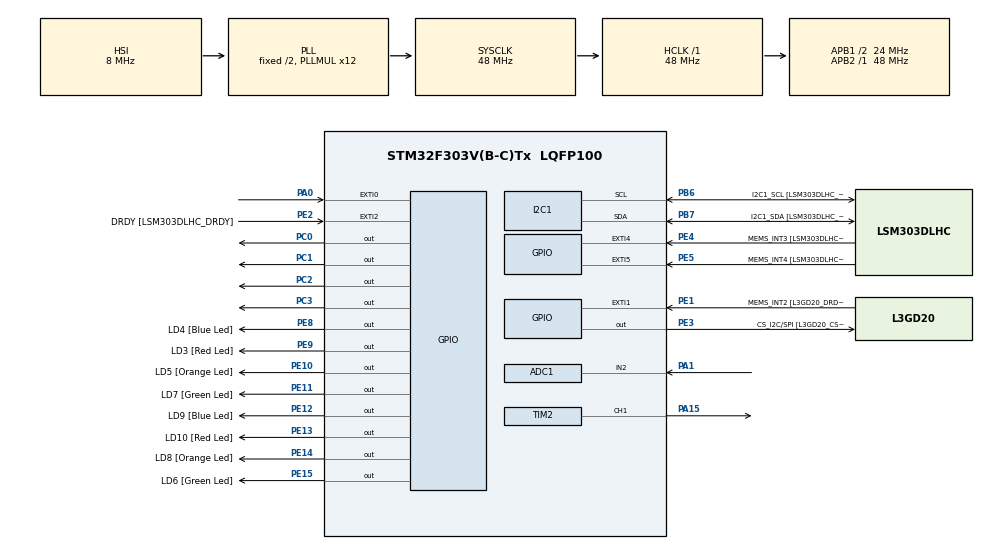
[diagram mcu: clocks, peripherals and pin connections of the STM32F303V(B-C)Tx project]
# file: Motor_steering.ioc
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ADC1.Channel-0\#ChannelRegularConversion=ADC_CHANNEL_2
ADC1.ContinuousConvMode=DISABLE
ADC1.DMAContinuousRequests=ENABLE
ADC1.EnableInjectedConversion=DISABLE
ADC1.ExternalTrigConv=ADC_EXTERNALTRIGCONV_T4_CC4
ADC1.NbrOfConversionFlag=1
ADC1.Offset-0\#ChannelRegularConversion=0
ADC1.OffsetNumber-0\#ChannelRegularConversion=ADC_OFFSET_NONE
ADC1.Rank-0\#ChannelRegularConversion=1
ADC1.SamplingTime-0\#ChannelRegularConversion=ADC_SAMPLETIME_7CYCLES_5
ADC1.SamplingTimeOPAMP-0\#ChannelRegularConversion=ADC_SAMPLETIME_19CYCLES_5
ADC1.master=1
Dma.ADC1.0.Direction=DMA_PERIPH_TO_MEMORY
Dma.ADC1.0.Instance=DMA1_Channel1
Dma.ADC1.0.MemDataAlignment=DMA_MDATAALIGN_HALFWORD
Dma.ADC1.0.MemInc=DMA_MINC_DISABLE
Dma.ADC1.0.Mode=DMA_CIRCULAR
Dma.ADC1.0.PeriphDataAlignment=DMA_PDATAALIGN_HALFWORD
Dma.ADC1.0.PeriphInc=DMA_PINC_DISABLE
Dma.ADC1.0.Priority=DMA_PRIORITY_LOW
Dma.Request0=ADC1
Mcu.Family=STM32F3
Mcu.Name=STM32F303V(B-C)Tx
Mcu.Package=LQFP100
NVIC.DMA1_Channel1_IRQn=true\:5\:0\:true\:false\:true\:false\:true\:true
NVIC.EXTI0_IRQn=true\:6\:0\:true\:false\:true\:true\:true\:true
NVIC.I2C1_EV_IRQn=true\:5\:0\:true\:false\:true\:true\:true\:true
NVIC.PriorityGroup=NVIC_PRIORITYGROUP_4
NVIC.TIM3_IRQn=true\:5\:0\:true\:false\:true\:true\:true\:true
NVIC.TIM4_IRQn=true\:0\:0\:false\:false\:true\:true\:true\:true
NVIC.TIM6_DAC_IRQn=true\:15\:0\:false\:false\:true\:false\:true\:true
NVIC.TimeBase=TIM6_DAC_IRQn
NVIC.TimeBaseIP=TIM6
PA0.GPIO_PuPd=GPIO_PULLDOWN
PA0.Signal=GPXTI0
PA1.Mode=IN2-Single-Ended
PA1.Signal=ADC1_IN2
PA11.GPIO_Label=DM
PA11.Signal=USB_DM
PA12.GPIO_Label=DP
PA12.Signal=USB_DP
PA13.GPIO_Label=SWDIO
PA13.Signal=SYS_JTMS-SWDIO
PA14.GPIO_Label=SWCLK
PA14.Signal=SYS_JTCK-SWCLK
PA15.Signal=S_TIM2_CH1_ETR
PA5.GPIO_Label=SPI1_SCK [L3GD20_SCL/SPC]
PA5.GPIO_Mode=GPIO_MODE_AF_PP
PA5.GPIO_PuPd=GPIO_NOPULL
PA5.GPIO_Speed=GPIO_SPEED_FREQ_LOW
PA5.Signal=SPI1_SCK
PA6.GPIO_Label=SPI1_MISO [L3GD20_SA0/SDO]
PA6.GPIO_Mode=GPIO_MODE_AF_PP
PA6.GPIO_PuPd=GPIO_NOPULL
PA6.GPIO_Speed=GPIO_SPEED_FREQ_LOW
PA6.Signal=SPI1_MISO
PA7.GPIO_Label=SPI1_MISO [L3GD20_SDA/SDI/SDO]
PA7.GPIO_Mode=GPIO_MODE_AF_PP
PA7.GPIO_PuPd=GPIO_NOPULL
PA7.GPIO_Speed=GPIO_SPEED_FREQ_LOW
PA7.Signal=SPI1_MOSI
PB3.GPIO_Label=SWO
PB3.Signal=SYS_JTDO-TRACESWO
PB6.GPIO_FM6=__NULL
PB6.GPIO_Label=I2C1_SCL [LSM303DLHC_SCL]
PB6.GPIO_Mode=GPIO_MODE_AF_OD
PB6.GPIO_PuPd=GPIO_NOPULL
PB6.GPIO_Speed=GPIO_SPEED_FREQ_LOW
PB6.Mode=I2C
PB6.Signal=I2C1_SCL
PB7.GPIO_FM7=__NULL
PB7.GPIO_Label=I2C1_SDA [LSM303DLHC_SDA]
PB7.GPIO_Mode=GPIO_MODE_AF_OD
PB7.GPIO_PuPd=GPIO_NOPULL
PB7.GPIO_Speed=GPIO_SPEED_FREQ_LOW
PB7.Mode=I2C
PB7.Signal=I2C1_SDA
PC0.Signal=GPIO_Output
PC1.Signal=GPIO_Output
PC14-OSC32_IN.GPIO_Label=OSC32_IN
PC14-OSC32_IN.Signal=RCC_OSC32_IN
PC15-OSC32_OUT.GPIO_Label=OSC32_OUT
PC15-OSC32_OUT.Signal=RCC_OSC32_OUT
PC2.Signal=GPIO_Output
PC3.Signal=GPIO_Output
PE1.GPIO_Label=MEMS_INT2 [L3GD20_DRDY/INT2]
PE1.GPIO_ModeDefaultEXTI=GPIO_MODE_EVT_RISING
PE1.GPIO_PuPd=GPIO_NOPULL
PE1.Signal=GPXTI1
PE10.GPIO_Label=LD5 [Orange Led]
PE10.GPIO_ModeDefaultOutputPP=GPIO_MODE_OUTPUT_PP
PE10.GPIO_PuPd=GPIO_NOPULL
PE10.GPIO_Speed=GPIO_SPEED_FREQ_LOW
PE10.Signal=GPIO_Output
PE11.GPIO_Label=LD7 [Green Led]
PE11.GPIO_ModeDefaultOutputPP=GPIO_MODE_OUTPUT_PP
PE11.GPIO_PuPd=GPIO_NOPULL
PE11.GPIO_Speed=GPIO_SPEED_FREQ_LOW
PE11.Signal=GPIO_Output
PE12.GPIO_Label=LD9 [Blue Led]
PE12.GPIO_ModeDefaultOutputPP=GPIO_MODE_OUTPUT_PP
PE12.GPIO_PuPd=GPIO_NOPULL
PE12.GPIO_Speed=GPIO_SPEED_FREQ_LOW
PE12.Signal=GPIO_Output
PE13.GPIO_Label=LD10 [Red Led]
PE13.GPIO_ModeDefaultOutputPP=GPIO_MODE_OUTPUT_PP
PE13.GPIO_PuPd=GPIO_NOPULL
PE13.GPIO_Speed=GPIO_SPEED_FREQ_LOW
PE13.Signal=GPIO_Output
PE14.GPIO_Label=LD8 [Orange Led]
PE14.GPIO_ModeDefaultOutputPP=GPIO_MODE_OUTPUT_PP
PE14.GPIO_PuPd=GPIO_NOPULL
PE14.GPIO_Speed=GPIO_SPEED_FREQ_LOW
PE14.Signal=GPIO_Output
PE15.GPIO_Label=LD6 [Green Led]
PE15.GPIO_ModeDefaultOutputPP=GPIO_MODE_OUTPUT_PP
PE15.GPIO_PuPd=GPIO_NOPULL
PE15.GPIO_Speed=GPIO_SPEED_FREQ_LOW
PE15.Signal=GPIO_Output
PE2.GPIO_Label=DRDY [LSM303DLHC_DRDY]
PE2.GPIO_ModeDefaultEXTI=GPIO_MODE_EVT_RISING
PE2.GPIO_PuPd=GPIO_NOPULL
PE2.Signal=GPXTI2
PE3.GPIO_Label=CS_I2C/SPI [L3GD20_CS_I2C/SPI]
PE3.GPIO_ModeDefaultOutputPP=GPIO_MODE_OUTPUT_PP
PE3.GPIO_PuPd=GPIO_NOPULL
PE3.GPIO_Speed=GPIO_SPEED_FREQ_LOW
PE3.Signal=GPIO_Output
PE4.GPIO_Label=MEMS_INT3 [LSM303DLHC_INT1]
PE4.GPIO_ModeDefaultEXTI=GPIO_MODE_EVT_RISING
PE4.GPIO_PuPd=GPIO_NOPULL
PE4.Signal=GPXTI4
PE5.GPIO_Label=MEMS_INT4 [LSM303DLHC_INT2]
PE5.GPIO_ModeDefaultEXTI=GPIO_MODE_EVT_RISING
PE5.GPIO_PuPd=GPIO_NOPULL
PE5.Signal=GPXTI5
PE8.GPIO_Label=LD4 [Blue Led]
PE8.GPIO_ModeDefaultOutputPP=GPIO_MODE_OUTPUT_PP
PE8.GPIO_PuPd=GPIO_NOPULL
PE8.GPIO_Speed=GPIO_SPEED_FREQ_LOW
PE8.Signal=GPIO_Output
PE9.GPIO_Label=LD3 [Red Led]
PE9.GPIO_ModeDefaultOutputPP=GPIO_MODE_OUTPUT_PP
PE9.GPIO_PuPd=GPIO_NOPULL
PE9.GPIO_Speed=GPIO_SPEED_FREQ_LOW
PE9.Signal=GPIO_Output
PF0-OSC_IN.GPIO_Label=OSC_IN
PF0-OSC_IN.Signal=RCC_OSC_IN
PF1-OSC_OUT.GPIO_Label=OSC_OUT
PF1-OSC_OUT.Signal=RCC_OSC_OUT
ProjectManager.HeapSize=0x200
ProjectManager.StackSize=0x400
ProjectManager.TargetToolchain=STM32CubeIDE
RCC.AHBFreq_Value=48000000
RCC.APB1CLKDivider=RCC_HCLK_DIV2
RCC.APB1Freq_Value=24000000
RCC.APB1TimFreq_Value=48000000
RCC.APB2Freq_Value=48000000
RCC.APB2TimFreq_Value=48000000
RCC.CortexFreq_Value=48000000
RCC.HCLKFreq_Value=48000000
RCC.HSE_VALUE=8000000
RCC.HSI_VALUE=8000000
RCC.LSE_VALUE=32768
RCC.PLLMUL=RCC_PLL_MUL12
RCC.SYSCLKFreq_VALUE=48000000
RCC.SYSCLKSourceVirtual=RCC_SYSCLKSOURCE_PLLCLK
RCC.USBFreq_Value=48000000
SH.S_TIM2_CH1_ETR.0=TIM2_CH1,PWM Generation1 CH1
TIM2.AutoReloadPreload=TIM_AUTORELOAD_PRELOAD_ENABLE
TIM2.Channel-PWM\ Generation1\ CH1=TIM_CHANNEL_1
TIM2.Period=20119
TIM2.Prescaler=47
TIM3.AutoReloadPreload=TIM_AUTORELOAD_PRELOAD_ENABLE
TIM3.Period=10000
TIM3.Prescaler=48
TIM4.AutoReloadPreload=TIM_AUTORELOAD_PRELOAD_ENABLE
TIM4.Channel-Output\ Compare4\ No\ Output=TIM_CHANNEL_4
TIM4.OC4Preload=ENABLE
TIM4.OCMode_4=TIM_OCMODE_TOGGLE
TIM4.OCPolarity_4=TIM_OCPOLARITY_LOW
TIM4.Period=100
TIM4.Prescaler=4800
TIM4.Pulse-Output\ Compare4\ No\ Output=50
VP_SYS_VS_tim6.Mode=TIM6
VP_TIM2_VS_ClockSourceINT.Mode=Internal
VP_TIM3_VS_ClockSourceINT.Mode=Internal
VP_TIM4_VS_ClockSourceINT.Mode=Internal
VP_TIM4_VS_no_output4.Mode=Output Compare4 No Output
board=STM32F3DISCOVERY

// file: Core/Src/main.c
/* USER CODE BEGIN Header */
/**
  ******************************************************************************
  * @file           : main.c
  * @brief          : Main program body
  ******************************************************************************
  * @attention
  *
  * Copyright (c) 2024 STMicroelectronics.
  * All rights reserved.
  *
  * This software is licensed under terms that can be found in the LICENSE file
  * in the root directory of this software component.
  * If no LICENSE file comes with this software, it is provided AS-IS.
  *
  ******************************************************************************
  */

 /*
  * PINS USED IN THIS PROJECT :
  *
  * STEPPER MOTOR:
  * PC0		- ULN2003_INPUT_0
  * PC1		- ULN2003_INPUT_1
  * PC2		- ULN2003_INPUT_2
  * PC3		- ULN2003_INPUT_3
  *
  * SERVO:
  * PA15	- TIM2_CHANNEL_1 (SERVO PWM SIGNAL)
  *
  *	POTENTIOMETER:
  *	PA1 	- ADC1_CHANNEL_2
  *
  */

/* USER CODE END Header */
#include "main.h"

/* USER CODE BEGIN Includes */
#include"FreeRTOS.h"
#include "task.h"
#include "timers.h"
#include "MY_motor.h"

/* USER CODE END Includes */

/* USER CODE BEGIN PD */

//TASKS
TaskHandle_t motor_stepper;
TaskHandle_t motor_servo;
TaskHandle_t measurements;
TaskHandle_t i2c_gather;

//TIMERS
TimerHandle_t Timer_1;

/* USER CODE END PD */

ADC_HandleTypeDef hadc1;
DMA_HandleTypeDef hdma_adc1;

I2C_HandleTypeDef hi2c1;

TIM_HandleTypeDef htim2;
TIM_HandleTypeDef htim3;
TIM_HandleTypeDef htim4;

/* USER CODE BEGIN PV */
uint8_t magnetic_module_addr = (0x1E << 1);

//RAW DATA RETREIVED FROM THE SENSOR
uint8_t 	RAW_DATA [6];
uint16_t 	RAW_TEMP;

//PROCESSED DATA
position_t 	POSITION;
float 		TEMPERATURE;

uint8_t 	MOTOR_DIR;
/* USER CODE END PV */

void SystemClock_Config(void);
static void MX_GPIO_Init(void);
static void MX_DMA_Init(void);
static void MX_TIM2_Init(void);
static void MX_TIM3_Init(void);
static void MX_ADC1_Init(void);
static void MX_TIM4_Init(void);
static void MX_I2C1_Init(void);
/* USER CODE BEGIN PFP */

//TASK FUNCTIONS
void vMotorControl (void* pvParameters);
void vServoControl (void* pvParameters);
void vMeasurements (void* pvParameters);
void vI2CGather (void* pvParameters);

//TIMER FUNCTIONS
void vTimer_1( TimerHandle_t xTimer );

//USER FUNCTIONS
void vButton_IRQ(void);

/* USER CODE END PFP */

int main(void)
{
  /* USER CODE BEGIN 1 */
	BaseType_t Status;

  /* USER CODE END 1 */

  /* MCU Configuration--------------------------------------------------------*/

  /* Reset of all peripherals, Initializes the Flash interface and the Systick. */
  HAL_Init();

  /* Configure the system clock */
  SystemClock_Config();

  /* Initialize all configured peripherals */
  MX_GPIO_Init();
  MX_DMA_Init();
  MX_TIM2_Init();
  MX_TIM3_Init();
  MX_ADC1_Init();
  MX_TIM4_Init();
  MX_I2C1_Init();
  /* USER CODE BEGIN 2 */

  Status = xTaskCreate(vMeasurements, "Measurements", 100, "MES RUNNING", 1, &measurements);
  configASSERT(Status == pdPASS);

  Status = xTaskCreate(vMotorControl, "STEPPER_MOTOR", 100, "ST_MT RUNNING", 1, &motor_stepper);
  configASSERT(Status == pdPASS);

  Status = xTaskCreate(vServoControl, "SERVO_MOTOR", 100, "SERVO RUNNING", 1, &motor_servo);
  configASSERT(Status == pdPASS);

  Status = xTaskCreate(vI2CGather, "I2C Gather", 100, "I2C COMM", 1, &i2c_gather);
  configASSERT(Status == pdPASS);

  Timer_1 = xTimerCreate("Stepper TIM", portMAX_DELAY, pdTRUE, (void*) 0, vTimer_1);
  configASSERT(Timer_1);
  if(xTimerStart( Timer_1 , 0 ) != pdPASS )
  {
	  configASSERT(0);
  }

  vTaskStartScheduler();
  /* USER CODE END 2 */

  /* Infinite loop */
  while (1)
  {

  }
}

void SystemClock_Config(void)
{
  RCC_OscInitTypeDef RCC_OscInitStruct = {0};
  RCC_ClkInitTypeDef RCC_ClkInitStruct = {0};
  RCC_PeriphCLKInitTypeDef PeriphClkInit = {0};

  /** Initializes the RCC Oscillators according to the specified parameters
  * in the RCC_OscInitTypeDef structure.
  */
  RCC_OscInitStruct.OscillatorType = RCC_OSCILLATORTYPE_HSI;
  RCC_OscInitStruct.HSIState = RCC_HSI_ON;
  RCC_OscInitStruct.HSICalibrationValue = RCC_HSICALIBRATION_DEFAULT;
  RCC_OscInitStruct.PLL.PLLState = RCC_PLL_ON;
  RCC_OscInitStruct.PLL.PLLSource = RCC_PLLSOURCE_HSI;
  RCC_OscInitStruct.PLL.PLLMUL = RCC_PLL_MUL12;
  if (HAL_RCC_OscConfig(&RCC_OscInitStruct) != HAL_OK)
  {
    Error_Handler();
  }

  /** Initializes the CPU, AHB and APB buses clocks
  */
  RCC_ClkInitStruct.ClockType = RCC_CLOCKTYPE_HCLK|RCC_CLOCKTYPE_SYSCLK
                              |RCC_CLOCKTYPE_PCLK1|RCC_CLOCKTYPE_PCLK2;
  RCC_ClkInitStruct.SYSCLKSource = RCC_SYSCLKSOURCE_PLLCLK;
  RCC_ClkInitStruct.AHBCLKDivider = RCC_SYSCLK_DIV1;
  RCC_ClkInitStruct.APB1CLKDivider = RCC_HCLK_DIV2;
  RCC_ClkInitStruct.APB2CLKDivider = RCC_HCLK_DIV1;

  if (HAL_RCC_ClockConfig(&RCC_ClkInitStruct, FLASH_LATENCY_1) != HAL_OK)
  {
    Error_Handler();
  }
  PeriphClkInit.PeriphClockSelection = RCC_PERIPHCLK_I2C1|RCC_PERIPHCLK_ADC12;
  PeriphClkInit.Adc12ClockSelection = RCC_ADC12PLLCLK_DIV1;
  PeriphClkInit.I2c1ClockSelection = RCC_I2C1CLKSOURCE_HSI;
  if (HAL_RCCEx_PeriphCLKConfig(&PeriphClkInit) != HAL_OK)
  {
    Error_Handler();
  }
}

static void MX_ADC1_Init(void)
{

  ADC_MultiModeTypeDef multimode = {0};
  ADC_ChannelConfTypeDef sConfig = {0};

  /** Common config
  */
  hadc1.Instance = ADC1;
  hadc1.Init.ClockPrescaler = ADC_CLOCK_ASYNC_DIV1;
  hadc1.Init.Resolution = ADC_RESOLUTION_12B;
  hadc1.Init.ScanConvMode = ADC_SCAN_DISABLE;
  hadc1.Init.ContinuousConvMode = DISABLE;
  hadc1.Init.DiscontinuousConvMode = DISABLE;
  hadc1.Init.ExternalTrigConvEdge = ADC_EXTERNALTRIGCONVEDGE_RISING;
  hadc1.Init.ExternalTrigConv = ADC_EXTERNALTRIGCONV_T4_CC4;
  hadc1.Init.DataAlign = ADC_DATAALIGN_RIGHT;
  hadc1.Init.NbrOfConversion = 1;
  hadc1.Init.DMAContinuousRequests = ENABLE;
  hadc1.Init.EOCSelection = ADC_EOC_SINGLE_CONV;
  hadc1.Init.LowPowerAutoWait = DISABLE;
  hadc1.Init.Overrun = ADC_OVR_DATA_OVERWRITTEN;
  if (HAL_ADC_Init(&hadc1) != HAL_OK)
  {
    Error_Handler();
  }

  /** Configure the ADC multi-mode
  */
  multimode.Mode = ADC_MODE_INDEPENDENT;
  if (HAL_ADCEx_MultiModeConfigChannel(&hadc1, &multimode) != HAL_OK)
  {
    Error_Handler();
  }

  /** Configure Regular Channel
  */
  sConfig.Channel = ADC_CHANNEL_2;
  sConfig.Rank = ADC_REGULAR_RANK_1;
  sConfig.SingleDiff = ADC_SINGLE_ENDED;
  sConfig.SamplingTime = ADC_SAMPLETIME_7CYCLES_5;
  sConfig.OffsetNumber = ADC_OFFSET_NONE;
  sConfig.Offset = 0;
  if (HAL_ADC_ConfigChannel(&hadc1, &sConfig) != HAL_OK)
  {
    Error_Handler();
  }

}

static void MX_I2C1_Init(void)
{

  hi2c1.Instance = I2C1;
  hi2c1.Init.Timing = 0x2000090E;
  hi2c1.Init.OwnAddress1 = 0;
  hi2c1.Init.AddressingMode = I2C_ADDRESSINGMODE_7BIT;
  hi2c1.Init.DualAddressMode = I2C_DUALADDRESS_DISABLE;
  hi2c1.Init.OwnAddress2 = 0;
  hi2c1.Init.OwnAddress2Masks = I2C_OA2_NOMASK;
  hi2c1.Init.GeneralCallMode = I2C_GENERALCALL_DISABLE;
  hi2c1.Init.NoStretchMode = I2C_NOSTRETCH_DISABLE;
  if (HAL_I2C_Init(&hi2c1) != HAL_OK)
  {
    Error_Handler();
  }

  /** Configure Analogue filter
  */
  if (HAL_I2CEx_ConfigAnalogFilter(&hi2c1, I2C_ANALOGFILTER_ENABLE) != HAL_OK)
  {
    Error_Handler();
  }

  /** Configure Digital filter
  */
  if (HAL_I2CEx_ConfigDigitalFilter(&hi2c1, 0) != HAL_OK)
  {
    Error_Handler();
  }

}

static void MX_TIM2_Init(void)
{

  TIM_ClockConfigTypeDef sClockSourceConfig = {0};
  TIM_MasterConfigTypeDef sMasterConfig = {0};
  TIM_OC_InitTypeDef sConfigOC = {0};

  htim2.Instance = TIM2;
  htim2.Init.Prescaler = 47;
  htim2.Init.CounterMode = TIM_COUNTERMODE_UP;
  htim2.Init.Period = 20119;
  htim2.Init.ClockDivision = TIM_CLOCKDIVISION_DIV1;
  htim2.Init.AutoReloadPreload = TIM_AUTORELOAD_PRELOAD_ENABLE;
  if (HAL_TIM_Base_Init(&htim2) != HAL_OK)
  {
    Error_Handler();
  }
  sClockSourceConfig.ClockSource = TIM_CLOCKSOURCE_INTERNAL;
  if (HAL_TIM_ConfigClockSource(&htim2, &sClockSourceConfig) != HAL_OK)
  {
    Error_Handler();
  }
  if (HAL_TIM_PWM_Init(&htim2) != HAL_OK)
  {
    Error_Handler();
  }
  sMasterConfig.MasterOutputTrigger = TIM_TRGO_RESET;
  sMasterConfig.MasterSlaveMode = TIM_MASTERSLAVEMODE_DISABLE;
  if (HAL_TIMEx_MasterConfigSynchronization(&htim2, &sMasterConfig) != HAL_OK)
  {
    Error_Handler();
  }
  sConfigOC.OCMode = TIM_OCMODE_PWM1;
  sConfigOC.Pulse = 0;
  sConfigOC.OCPolarity = TIM_OCPOLARITY_HIGH;
  sConfigOC.OCFastMode = TIM_OCFAST_DISABLE;
  if (HAL_TIM_PWM_ConfigChannel(&htim2, &sConfigOC, TIM_CHANNEL_1) != HAL_OK)
  {
    Error_Handler();
  }
  HAL_TIM_MspPostInit(&htim2);

}

static void MX_TIM3_Init(void)
{

  TIM_ClockConfigTypeDef sClockSourceConfig = {0};
  TIM_MasterConfigTypeDef sMasterConfig = {0};

  htim3.Instance = TIM3;
  htim3.Init.Prescaler = 48;
  htim3.Init.CounterMode = TIM_COUNTERMODE_UP;
  htim3.Init.Period = 10000;
  htim3.Init.ClockDivision = TIM_CLOCKDIVISION_DIV1;
  htim3.Init.AutoReloadPreload = TIM_AUTORELOAD_PRELOAD_ENABLE;
  if (HAL_TIM_Base_Init(&htim3) != HAL_OK)
  {
    Error_Handler();
  }
  sClockSourceConfig.ClockSource = TIM_CLOCKSOURCE_INTERNAL;
  if (HAL_TIM_ConfigClockSource(&htim3, &sClockSourceConfig) != HAL_OK)
  {
    Error_Handler();
  }
  sMasterConfig.MasterOutputTrigger = TIM_TRGO_RESET;
  sMasterConfig.MasterSlaveMode = TIM_MASTERSLAVEMODE_DISABLE;
  if (HAL_TIMEx_MasterConfigSynchronization(&htim3, &sMasterConfig) != HAL_OK)
  {
    Error_Handler();
  }

}

static void MX_TIM4_Init(void)
{

  TIM_ClockConfigTypeDef sClockSourceConfig = {0};
  TIM_MasterConfigTypeDef sMasterConfig = {0};
  TIM_OC_InitTypeDef sConfigOC = {0};

  htim4.Instance = TIM4;
  htim4.Init.Prescaler = 4800;
  htim4.Init.CounterMode = TIM_COUNTERMODE_UP;
  htim4.Init.Period = 100;
  htim4.Init.ClockDivision = TIM_CLOCKDIVISION_DIV1;
  htim4.Init.AutoReloadPreload = TIM_AUTORELOAD_PRELOAD_ENABLE;
  if (HAL_TIM_Base_Init(&htim4) != HAL_OK)
  {
    Error_Handler();
  }
  sClockSourceConfig.ClockSource = TIM_CLOCKSOURCE_INTERNAL;
  if (HAL_TIM_ConfigClockSource(&htim4, &sClockSourceConfig) != HAL_OK)
  {
    Error_Handler();
  }
  if (HAL_TIM_OC_Init(&htim4) != HAL_OK)
  {
    Error_Handler();
  }
  sMasterConfig.MasterOutputTrigger = TIM_TRGO_RESET;
  sMasterConfig.MasterSlaveMode = TIM_MASTERSLAVEMODE_DISABLE;
  if (HAL_TIMEx_MasterConfigSynchronization(&htim4, &sMasterConfig) != HAL_OK)
  {
    Error_Handler();
  }
  sConfigOC.OCMode = TIM_OCMODE_TOGGLE;
  sConfigOC.Pulse = 50;
  sConfigOC.OCPolarity = TIM_OCPOLARITY_LOW;
  sConfigOC.OCFastMode = TIM_OCFAST_DISABLE;
  if (HAL_TIM_OC_ConfigChannel(&htim4, &sConfigOC, TIM_CHANNEL_4) != HAL_OK)
  {
    Error_Handler();
  }
  __HAL_TIM_ENABLE_OCxPRELOAD(&htim4, TIM_CHANNEL_4);

}

static void MX_DMA_Init(void)
{

  /* DMA controller clock enable */
  __HAL_RCC_DMA1_CLK_ENABLE();

  /* DMA interrupt init */
  /* DMA1_Channel1_IRQn interrupt configuration */
  HAL_NVIC_SetPriority(DMA1_Channel1_IRQn, 5, 0);
  HAL_NVIC_EnableIRQ(DMA1_Channel1_IRQn);

}

static void MX_GPIO_Init(void)
{
  GPIO_InitTypeDef GPIO_InitStruct = {0};

  /* GPIO Ports Clock Enable */
  __HAL_RCC_GPIOE_CLK_ENABLE();
  __HAL_RCC_GPIOC_CLK_ENABLE();
  __HAL_RCC_GPIOF_CLK_ENABLE();
  __HAL_RCC_GPIOA_CLK_ENABLE();
  __HAL_RCC_GPIOB_CLK_ENABLE();

  /*Configure GPIO pin Output Level */
  HAL_GPIO_WritePin(GPIOE, CS_I2C_SPI_Pin|LD4_Pin|LD3_Pin|LD5_Pin
                          |LD7_Pin|LD9_Pin|LD10_Pin|LD8_Pin
                          |LD6_Pin, GPIO_PIN_RESET);

  /*Configure GPIO pin Output Level */
  HAL_GPIO_WritePin(GPIOC, GPIO_PIN_0|GPIO_PIN_1|GPIO_PIN_2|GPIO_PIN_3, GPIO_PIN_RESET);

  /*Configure GPIO pins : DRDY_Pin MEMS_INT3_Pin MEMS_INT4_Pin MEMS_INT2_Pin */
  GPIO_InitStruct.Pin = DRDY_Pin|MEMS_INT3_Pin|MEMS_INT4_Pin|MEMS_INT2_Pin;
  GPIO_InitStruct.Mode = GPIO_MODE_EVT_RISING;
  GPIO_InitStruct.Pull = GPIO_NOPULL;
  HAL_GPIO_Init(GPIOE, &GPIO_InitStruct);

  /*Configure GPIO pins : CS_I2C_SPI_Pin LD4_Pin LD3_Pin LD5_Pin
                           LD7_Pin LD9_Pin LD10_Pin LD8_Pin
                           LD6_Pin */
  GPIO_InitStruct.Pin = CS_I2C_SPI_Pin|LD4_Pin|LD3_Pin|LD5_Pin
                          |LD7_Pin|LD9_Pin|LD10_Pin|LD8_Pin
                          |LD6_Pin;
  GPIO_InitStruct.Mode = GPIO_MODE_OUTPUT_PP;
  GPIO_InitStruct.Pull = GPIO_NOPULL;
  GPIO_InitStruct.Speed = GPIO_SPEED_FREQ_LOW;
  HAL_GPIO_Init(GPIOE, &GPIO_InitStruct);

  /*Configure GPIO pins : PC0 PC1 PC2 PC3 */
  GPIO_InitStruct.Pin = GPIO_PIN_0|GPIO_PIN_1|GPIO_PIN_2|GPIO_PIN_3;
  GPIO_InitStruct.Mode = GPIO_MODE_OUTPUT_PP;
  GPIO_InitStruct.Pull = GPIO_NOPULL;
  GPIO_InitStruct.Speed = GPIO_SPEED_FREQ_LOW;
  HAL_GPIO_Init(GPIOC, &GPIO_InitStruct);

  /*Configure GPIO pin : PA0 */
  GPIO_InitStruct.Pin = GPIO_PIN_0;
  GPIO_InitStruct.Mode = GPIO_MODE_IT_RISING;
  GPIO_InitStruct.Pull = GPIO_PULLDOWN;
  HAL_GPIO_Init(GPIOA, &GPIO_InitStruct);

  /*Configure GPIO pins : SPI1_SCK_Pin SPI1_MISO_Pin SPI1_MISOA7_Pin */
  GPIO_InitStruct.Pin = SPI1_SCK_Pin|SPI1_MISO_Pin|SPI1_MISOA7_Pin;
  GPIO_InitStruct.Mode = GPIO_MODE_AF_PP;
  GPIO_InitStruct.Pull = GPIO_NOPULL;
  GPIO_InitStruct.Speed = GPIO_SPEED_FREQ_LOW;
  GPIO_InitStruct.Alternate = GPIO_AF5_SPI1;
  HAL_GPIO_Init(GPIOA, &GPIO_InitStruct);

  /*Configure GPIO pins : DM_Pin DP_Pin */
  GPIO_InitStruct.Pin = DM_Pin|DP_Pin;
  GPIO_InitStruct.Mode = GPIO_MODE_AF_PP;
  GPIO_InitStruct.Pull = GPIO_NOPULL;
  GPIO_InitStruct.Speed = GPIO_SPEED_FREQ_HIGH;
  GPIO_InitStruct.Alternate = GPIO_AF14_USB;
  HAL_GPIO_Init(GPIOA, &GPIO_InitStruct);

  /* EXTI interrupt init*/
  HAL_NVIC_SetPriority(EXTI0_IRQn, 6, 0);
  HAL_NVIC_EnableIRQ(EXTI0_IRQn);

}

/* USER CODE BEGIN 4 */
void HAL_I2C_MemRxCpltCallback(I2C_HandleTypeDef *hi2c)
{
	if (hi2c->Instance == hi2c1.Instance)
	{
		//IF RAW_DATA WAS RECEIVED
		if(hi2c->pBuffPtr == RAW_DATA+6)
		{
			POSITION = MAGNETIC_get_field(RAW_DATA);
		}
		//IF TEMPERATURE WAS RECEIVED
		else if(hi2c->pBuffPtr == ((uint8_t*)&(RAW_TEMP) + 2) )
		{
			TEMPERATURE = MAGNETIC_get_temp(RAW_TEMP);
		}
	}
}
/* USER CODE END 4 */

void HAL_TIM_PeriodElapsedCallback(TIM_HandleTypeDef *htim)
{
  /* USER CODE BEGIN Callback 0 */

	//IF HARDWARE TIMER WILL BE USED \/
//	if(htim->Instance == TIM3)
//	{
//		MOTOR_right_ULN2003();
//	}
  /* USER CODE END Callback 0 */
  if (htim->Instance == TIM6) {
    HAL_IncTick();
  }
}

void Error_Handler(void)
{
  __disable_irq();
  while (1)
  {
  }
}
